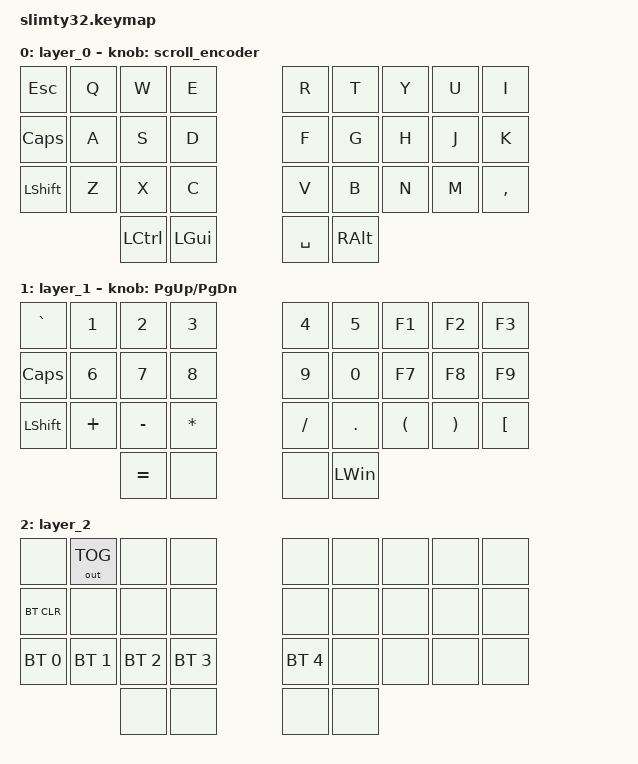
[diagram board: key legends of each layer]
#define ZMK_POINTING_DEFAULT_MOVE_VAL 1200 // 600
#define ZMK_POINTING_DEFAULT_SCRL_VAL 200 // 10

#include <behaviors/mouse_keys.dtsi>
#include <dt-bindings/zmk/mouse.h>
#include <input/processors.dtsi>
#include <zephyr/dt-bindings/input/input-event-codes.h>
#include <behaviors.dtsi>
#include <dt-bindings/zmk/bt.h>
#include <dt-bindings/zmk/keys.h>
#include <dt-bindings/zmk/outputs.h>
#include <dt-bindings/zmk/pointing.h>

&msc_input_listener { input-processors = <&zip_scroll_scaler 1 2>; };

&msc {
    acceleration-exponent = <1>;      // 0
    time-to-max-speed-ms = <100>;       // 300
    delay-ms = <0>;                   // 0
};

/ {
    scroll_encoder: scroll_encoder {
        compatible = "zmk,behavior-sensor-rotate";
        #sensor-binding-cells = <0>;
        bindings = <&msc SCRL_DOWN>, <&msc SCRL_UP>;

        tap-ms = <100>;
    };
};

/ {
    behaviors {
    };

    keymap {
        compatible = "zmk,keymap";

        layer_0 {
            bindings = <
&kp ESC         &kp Q  &kp W      &kp E     &kp R      &kp T          &kp Y  &kp U  &kp I
&kp CAPS        &kp A  &kp S      &kp D     &kp F      &kp G          &kp H  &kp J  &kp K
&kp LEFT_SHIFT  &kp Z  &kp X      &kp C     &kp V      &kp B          &kp N  &kp M  &kp COMMA
                       &kp LCTRL  &kp LGUI  &kp SPACE  &kp RIGHT_ALT
            >;

            sensor-bindings = <&scroll_encoder>;
        };

        layer_1 {
            bindings = <
&kp GRAVE       &kp N1    &kp N2     &kp N3        &kp N4    &kp N5        &kp F1                &kp F2                 &kp F3
&kp CAPS        &kp N6    &kp N7     &kp N8        &kp N9    &kp N0        &kp F7                &kp F8                 &kp F9
&kp LEFT_SHIFT  &kp PLUS  &kp MINUS  &kp ASTERISK  &kp FSLH  &kp DOT       &kp LEFT_PARENTHESIS  &kp RIGHT_PARENTHESIS  &kp LEFT_BRACKET
                          &kp EQUAL  &none         &none     &kp LEFT_WIN
            >;

            sensor-bindings = <&inc_dec_kp PG_UP PG_DN>;
        };

        layer_2 {
            bindings = <
&none         &out OUT_TOG  &none         &none         &none         &none  &none  &none  &none
&bt BT_CLR    &none         &none         &none         &none         &none  &none  &none  &none
&bt BT_SEL 0  &bt BT_SEL 1  &bt BT_SEL 2  &bt BT_SEL 3  &bt BT_SEL 4  &none  &none  &none  &none
                            &none         &none         &none         &none
            >;
        };
    };
};
